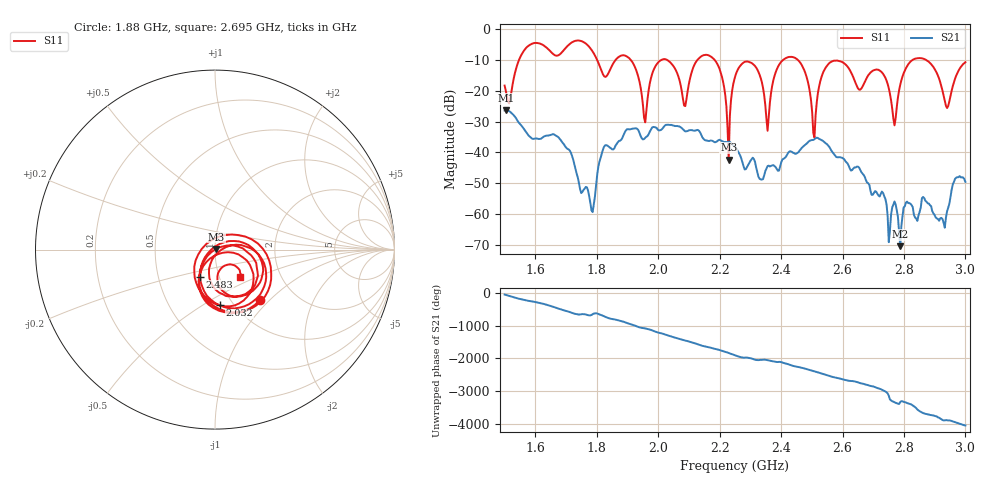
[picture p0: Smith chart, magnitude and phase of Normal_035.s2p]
# HZ S RI R 50
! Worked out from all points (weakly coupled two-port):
!   404 points, 1.5 GHz to 3 GHz, reference 50 ohm
!   highest |S21| = -26.32 dB at 1.504 GHz (marker M1); lowest = -70.5 dB at 2.788 GHz (marker M2)
!   lowest |S11| = -42.3 dB at 2.23 GHz (marker M3), VSWR 1.02, Z = 50.6 + j0.425 ohm
!   |S11| at or under -10 dB: 2.184 GHz to 2.406 GHz (221.3 MHz wide, 9.64 % of centre); 2.455 GHz to 2.827 GHz (371.4 MHz wide, 14.1 % of centre); 2.873 GHz to end of sweep (the widest 3 of 7)
!   S12 and S22 are empty: the file has one direction only
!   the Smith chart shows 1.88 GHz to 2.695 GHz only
!   S11 on the Smith chart (normalised r, x): 1.88 GHz: 1.34, -0.88; 2.032 GHz: 0.87, -0.60; 2.483 GHz: 0.81, -0.25; 2.695 GHz: 1.26, -0.40
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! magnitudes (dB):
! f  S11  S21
! 1.5 GHz  -18.3  -26.4
! 1.504 GHz  -19.9  -26.3
! 1.753 GHz  -3.9  -52.9
! 1.88 GHz  -8.5  -35.9
! 1.958 GHz  -30.2  -35.2
! 2.002 GHz  -10.5  -32.9
! 2.032 GHz  -10.1  -31.0
! 2.088 GHz  -24.9  -33.2
! 2.181 GHz  -9.6  -36.5
! 2.23 GHz  -42.3  -36.4
! 2.252 GHz  -14.9  -38.3
! 2.356 GHz  -33.0  -44.5
! 2.404 GHz  -10.1  -42.3
! 2.483 GHz  -15.3  -37.2
! 2.501 GHz  -27.0  -36.0
! 2.561 GHz  -10.6  -38.9
! 2.695 GHz  -13.7  -53.8
! 2.751 GHz  -19.1  -69.2
! 2.788 GHz  -18.0  -70.5
! 2.866 GHz  -9.6  -54.9
! 2.94 GHz  -25.6  -59.1
! 3 GHz  -10.6  -49.6
